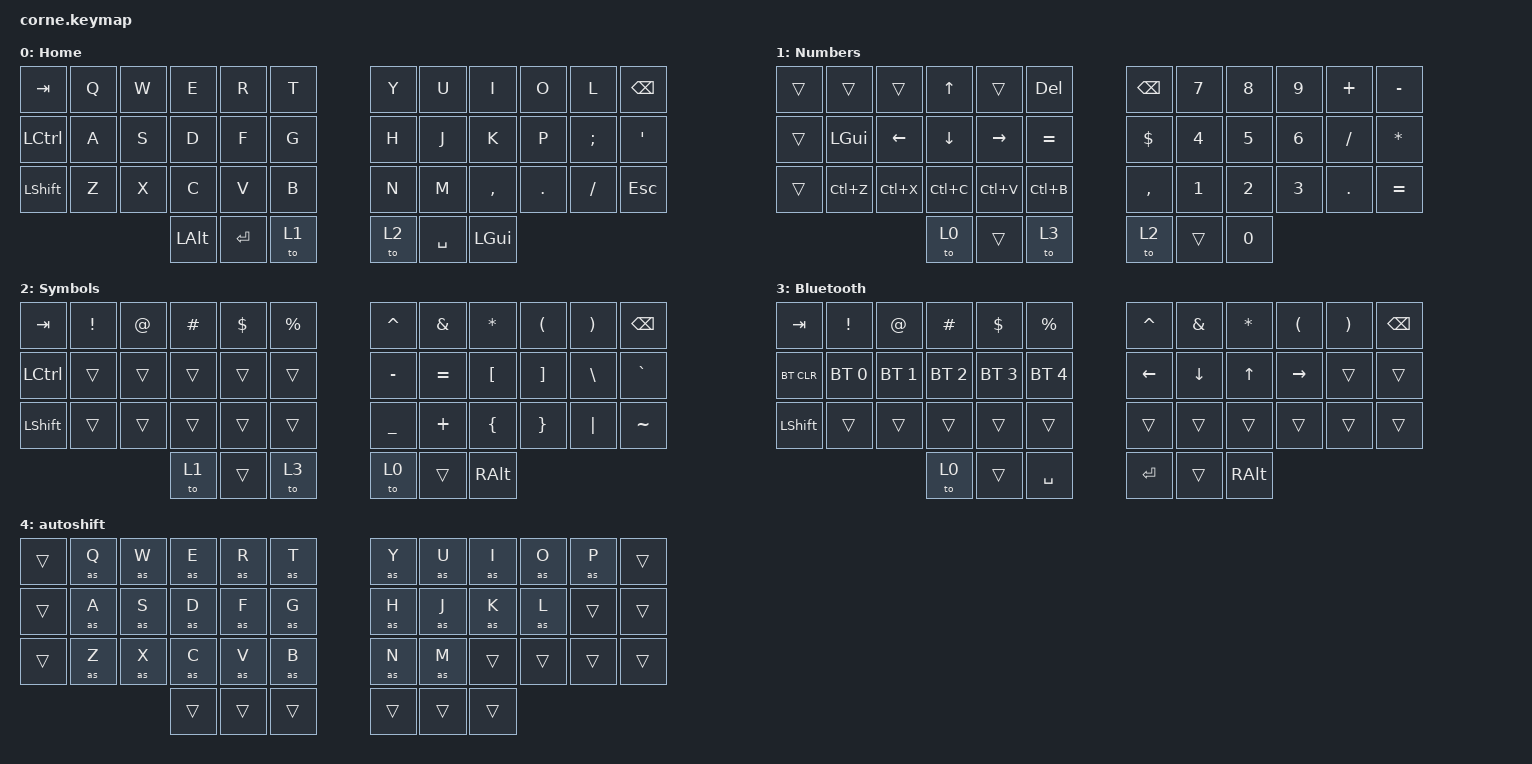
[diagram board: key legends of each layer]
/*
 * Copyright (c) 2020 The ZMK Contributors
 *
 * SPDX-License-Identifier: MIT
 */

#include <behaviors.dtsi>
#include <dt-bindings/zmk/bt.h>
#include <dt-bindings/zmk/keys.h>

&sk { /delete-property/ ignore-modifiers; };

/ {
    macros {
        shift: with_lshift {
            compatible = "zmk,behavior-macro-one-param";
            #binding-cells = <1>;
            bindings =
                <&macro_press>,
                <&kp LEFT_SHIFT>,
                <&macro_tap>,
                <&macro_param_1to1 &kp MACRO_PLACEHOLDER>,
                <&macro_release>,
                <&kp LEFT_SHIFT>;

            label = "KEY_PRESS_WITH_LEFT_SHIFT";
        };

        as: autoshift {
            compatible = "zmk,behavior-macro-one-param";
            #binding-cells = <1>;
            bindings =
                <&macro_press>,
                <&macro_param_1to1 &macro_param_1to2 &as_ht MACRO_PLACEHOLDER MACRO_PLACEHOLDER>,
                <&macro_pause_for_release>,
                <&macro_release>,
                <&macro_param_1to1 &macro_param_1to2 &as_ht MACRO_PLACEHOLDER MACRO_PLACEHOLDER>;

            label = "AUTOSHIFT_KEYPRESS";
        };
    };

    behaviors {
        as_ht: autoshift_hold_tap {
            compatible = "zmk,behavior-hold-tap";
            label = "AUTOSHIFT_HOLD_TAP";
            bindings = <&shift>, <&kp>;

            #binding-cells = <2>;
            tapping-term-ms = <190>;
        };

        hml: homewrow_mods_left {
            compatible = "zmk,behavior-hold-tap";
            label = "HOMEROW_MODS_LEFT_HAND";
            bindings = <&kp>, <&kp>;

            #binding-cells = <2>;
            tapping-term-ms = <200>;
            hold-trigger-key-positions = <40 41 39 30 35 31 34 33 18 32 20 19 7 6 9 8 21 22 23 11 10>;
        };

        hmr: homewrow_mods_right {
            compatible = "zmk,behavior-hold-tap";
            label = "HOMEROW_MODS_RIGHT_HAND";
            bindings = <&kp>, <&kp>;

            #binding-cells = <2>;
            tapping-term-ms = <200>;
            hold-trigger-key-positions = <26 0 0 1 2 3 4 16 0 1 2 3 4 5 12 13 14 15 16 17 24 25 26 27 28 29 36 37 38>;
        };
    };

    combos {
        compatible = "zmk,combos";

        Capslock {
            bindings = <&kp CAPS>;
            key-positions = <12 13>;
        };

        Delete {
            bindings = <&kp DELETE>;
            key-positions = <11 10>;
        };
    };

    keymap {
        compatible = "zmk,keymap";

        Home {
            // -----------------------------------------------------------------------------------------
            // |  TAB |  Q  |  W  |  E  |  R  |  T  |   |  Y  |  U   |  I  |  O  |  P  | BKSP |
            // | CTRL |  A  |  S  |  D  |  F  |  G  |   |  H  |  J   |  K  |  L  |  ;  |  '   |
            // | SHFT |  Z  |  X  |  C  |  V  |  B  |   |  N  |  M   |  ,  |  .  |  /  | ESC  |
            //                    | GUI | LWR | SPC |   | ENT | RSE  | ALT |

            bindings = <
&kp TAB           &kp Q  &kp W  &kp E         &kp R      &kp T    &kp Y  &kp U      &kp I         &kp O    &kp L     &kp BSPC
&kp LEFT_CONTROL  &kp A  &kp S  &kp D         &kp F      &kp G    &kp H  &kp J      &kp K         &kp P    &kp SEMI  &kp SQT
&kp LEFT_SHIFT    &kp Z  &kp X  &kp C         &kp V      &kp B    &kp N  &kp M      &kp COMMA     &kp DOT  &kp FSLH  &kp ESC
                                &kp LEFT_ALT  &kp ENTER  &to 1    &to 2  &kp SPACE  &kp LEFT_GUI
            >;
        };

        Numbers {
            bindings = <
&trans  &trans        &trans     &kp UP     &trans     &kp DEL      &kp BSPC    &kp N7  &kp N8  &kp N9  &kp PLUS  &kp MINUS
&trans  &kp LEFT_GUI  &kp LEFT   &kp DOWN   &kp RIGHT  &kp EQUAL    &kp DOLLAR  &kp N4  &kp N5  &kp N6  &kp FSLH  &kp STAR
&trans  &kp LC(Z)     &kp LC(X)  &kp LC(C)  &kp LC(V)  &kp LC(B)    &kp COMMA   &kp N1  &kp N2  &kp N3  &kp DOT   &kp EQUAL
                                 &to 0      &trans     &to 3        &to 2       &trans  &kp N0
            >;
        };

        Symbols {
            // -----------------------------------------------------------------------------------------
            // |  TAB |  !  |  @  |  #  |  $  |  %  |   |  ^  |  &  |  *  |  (  |  )  | BKSP |
            // | CTRL |     |     |     |     |     |   |  -  |  =  |  [  |  ]  |  \  |  `   |
            // | SHFT |     |     |     |     |     |   |  _  |  +  |  {  |  }  | "|" |  ~   |
            //                    | GUI |     | SPC |   | ENT |     | ALT |

            bindings = <
&kp TAB    &kp EXCL  &kp AT  &kp HASH  &kp DLLR  &kp PRCNT    &kp CARET  &kp AMPS   &kp ASTRK  &kp LPAR  &kp RPAR  &kp BSPC
&kp LCTRL  &trans    &trans  &trans    &trans    &trans       &kp MINUS  &kp EQUAL  &kp LBKT   &kp RBKT  &kp BSLH  &kp GRAVE
&kp LSHFT  &trans    &trans  &trans    &trans    &trans       &kp UNDER  &kp PLUS   &kp LBRC   &kp RBRC  &kp PIPE  &kp TILDE
                             &to 1     &trans    &to 3        &to 0      &trans     &kp RALT
            >;
        };

        Bluetooth {
            // -----------------------------------------------------------------------------------------
            // |  TAB |  1  |  2  |  3  |  4  |  5  |   |  6  |  7  |  8  |  9  |  0  | BKSP |
            // | BTCLR| BT1 | BT2 | BT3 | BT4 | BT5 |   | LFT | DWN |  UP | RGT |     |      |
            // | SHFT |     |     |     |     |     |   |     |     |     |     |     |      |
            //                    | GUI |     | SPC |   | ENT |     | ALT |

            bindings = <
&kp TAB     &kp EXCLAMATION  &kp AT_SIGN   &kp HASH      &kp DOLLAR    &kp PERCENT     &kp CARET  &kp AMPERSAND  &kp ASTERISK  &kp LEFT_PARENTHESIS  &kp RIGHT_PARENTHESIS  &kp BSPC
&bt BT_CLR  &bt BT_SEL 0     &bt BT_SEL 1  &bt BT_SEL 2  &bt BT_SEL 3  &bt BT_SEL 4    &kp LEFT   &kp DOWN       &kp UP        &kp RIGHT             &trans                 &trans
&kp LSHFT   &trans           &trans        &trans        &trans        &trans          &trans     &trans         &trans        &trans                &trans                 &trans
                                           &to 0         &trans        &kp SPACE       &kp RET    &trans         &kp RALT
            >;
        };

        autoshift {
            bindings = <
&trans  &as Q  &as W  &as E   &as R   &as T     &as Y   &as U   &as I   &as O   &as P   &trans
&trans  &as A  &as S  &as D   &as F   &as G     &as H   &as J   &as K   &as L   &trans  &trans
&trans  &as Z  &as X  &as C   &as V   &as B     &as N   &as M   &trans  &trans  &trans  &trans
                      &trans  &trans  &trans    &trans  &trans  &trans
            >;
        };
    };
};
